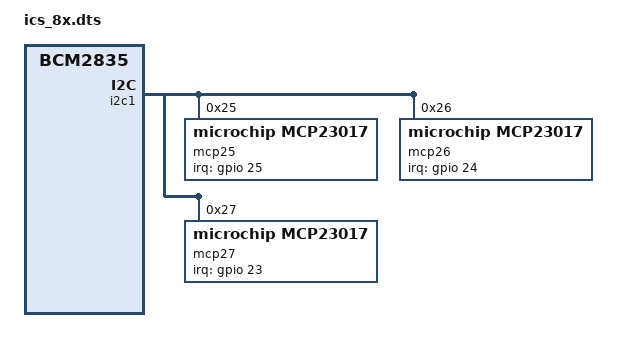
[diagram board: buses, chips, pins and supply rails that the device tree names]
/dts-v1/;
/plugin/;
#include <dt-bindings/interrupt-controller/irq.h>
/ {
    compatible = "brcm,bcm2711", "brcm,bcm2835";

    /* ========= Fragment 0: I2C devices ========= */
    fragment@0 {
        target = <&i2c1>;
        __overlay__ {
            status = "okay";

            #address-cells = <1>;
            #size-cells = <0>;

            /*
             * MCP23017 @ 0x25 — GPIO expansion port
             *
             * According to the ICS-8x notes, this is not the normal
             * port RX/TX GPIO block. It is retained here as general
             * expansion GPIO.
             */
            mcp25: gpio@25 {
                compatible = "microchip,mcp23017";
                reg = <0x25>;
                gpio-controller;
                #gpio-cells = <2>;
                /* MCP23017 @ 0x25 — U7 */
                interrupt-parent = <&gpio>;
                interrupts = <25 IRQ_TYPE_EDGE_FALLING>;
                interrupt-controller;
                #interrupt-cells = <2>;
                microchip,irq-mirror;
                gpio-line-names =
                    "EXP_1",  "EXP_2",  "EXP_3",  "EXP_4",
                    "EXP_5",  "EXP_6",  "EXP_7",  "EXP_8",
                    "EXP_9",  "EXP_10", "EXP_11", "EXP_12",
                    "EXP_13", "EXP_14", "EXP_15", "EXP_16";
            };

            /*
             * MCP23017 @ 0x26 — core RX/TX ports 5-8
             *
             * CSV GPIO range: 472-487
             */
            mcp26: gpio@26 {
                compatible = "microchip,mcp23017";
                reg = <0x26>;
                gpio-controller;
                #gpio-cells = <2>;
                /* MCP23017 @ 0x26 — U2 */
                interrupt-parent = <&gpio>;
                interrupts = <24 IRQ_TYPE_EDGE_FALLING>;
                interrupt-controller;
                #interrupt-cells = <2>;
                microchip,irq-mirror;
                gpio-line-names =
                    "EN_5", "EN_6", "TX_5", "TX_6",
                    "CT_5", "CT_6", "RX_5", "RX_6",
                    "EN_7", "EN_8", "TX_7", "TX_8",
                    "CT_7", "CT_8", "RX_7", "RX_8";

                pinctrl-names = "default";
                pinctrl-0 = <&mcp26_rx_pullups>;

                mcp26_rx_pullups: rx_pullups {
                    pins = "gpio6", "gpio7", "gpio14", "gpio15";
                    bias-pull-up;
                };
            };
            /*
             * MCP23017 @ 0x27 — core RX/TX ports 1-4
             *
             * CSV GPIO range: 456-471
             */
            mcp27: gpio@27 {
                compatible = "microchip,mcp23017";
                reg = <0x27>;
                gpio-controller;
                #gpio-cells = <2>;
                /* MCP23017 @ 0x27 — U1 */
                interrupt-parent = <&gpio>;
                interrupts = <23 IRQ_TYPE_EDGE_FALLING>;
                interrupt-controller;
                #interrupt-cells = <2>;
                microchip,irq-mirror;
                gpio-line-names =
                    "EN_1", "EN_2", "TX_1", "TX_2",
                    "CT_1", "CT_2", "RX_1", "RX_2",
                    "EN_3", "EN_4", "TX_3", "TX_4",
                    "CT_3", "CT_4", "RX_3", "RX_4";

                pinctrl-names = "default";
                pinctrl-0 = <&mcp27_rx_pullups>;

                mcp27_rx_pullups: rx_pullups {
                    pins = "gpio6", "gpio7", "gpio14", "gpio15";
                    bias-pull-up;
                };
            

            
            };
        };
    };
};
